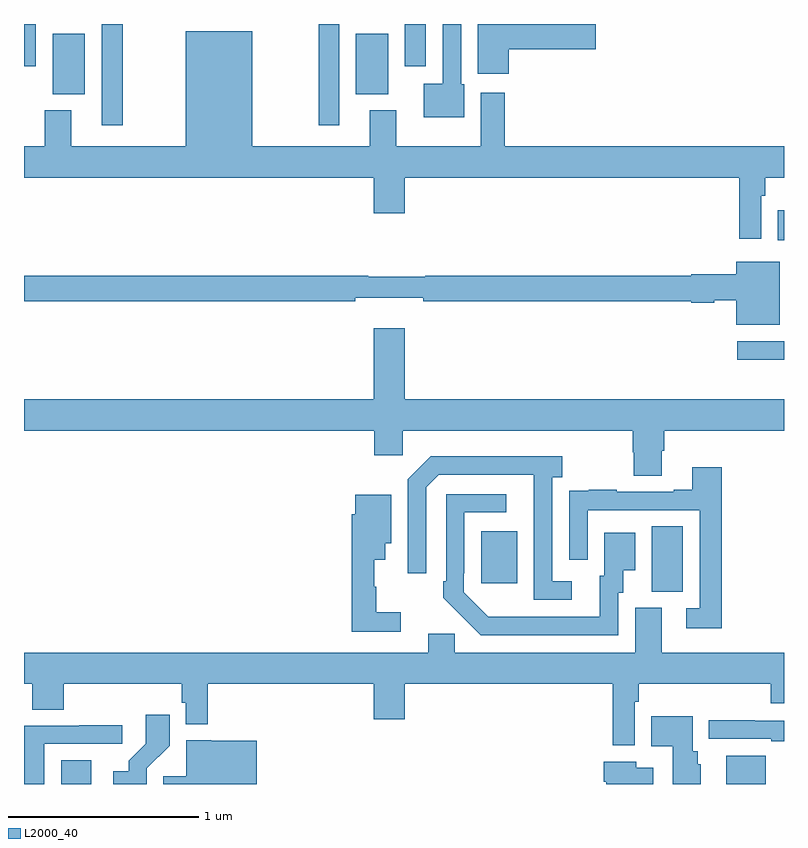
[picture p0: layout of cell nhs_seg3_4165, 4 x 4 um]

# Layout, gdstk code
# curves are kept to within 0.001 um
import gdstk
lib = gdstk.Library(unit=1e-6, precision=1e-09)
def R(c, l, rs):  # rectangles x0, y0, x1, y1
    for r in rs: c.add(gdstk.rectangle(r[:2], r[2:], *l))
def P(c, l, *ps):  # polygons
    for p in ps: c.add(gdstk.Polygon(p, *l))
L2000_40 = (2000, 40)

nhs_seg3_4165 = lib.new_cell('nhs_seg3_4165')
R(nhs_seg3_4165, L2000_40, [(331.196,688.4,331.354,688.526), (334.697,688.4,334.903,688.549), (334.304,689.413,334.468,689.756), (333.407,689.457,333.595,689.731), (334.755,690.633,335,690.729), (334.966,691.262,335,691.42), (331.41,691.866,331.519,692.4), (332.55,691.866,332.658,692.4), (331.151,692.03,331.321,692.35), (332.747,692.03,332.917,692.35), (331,692.178,331.063,692.4), (333.005,692.178,333.115,692.4)])
P(nhs_seg3_4165, L2000_40, [(333.551,692.267),(334.009,692.267),(334.009,692.4),(333.389,692.4),(333.389,692.139),(333.551,692.139)],
  [(333.316,692.082),(333.3,692.082),(333.3,692.4),(333.204,692.4),(333.204,692.086),(333.104,692.086),(333.104,691.91),(333.316,691.91)],
  [(334.881,691.496),(334.901,691.496),(334.901,691.592),(335,691.592),(335,691.756),(333.53,691.756),(333.53,692.038),(333.404,692.038),(333.404,691.756),(332.959,691.756),(332.959,691.945),(332.819,691.945),(332.819,691.756),(332.2,691.756),(332.2,692.362),(331.85,692.362),(331.85,691.756),(331.249,691.756),(331.249,691.945),(331.109,691.945),(331.109,691.756),(331,691.756),(331,691.592),(332.84,691.592),(332.84,691.404),(333.004,691.404),(333.004,691.592),(334.765,691.592),(334.765,691.269),(334.881,691.269)],
  [(334.978,691.15),(334.748,691.15),(334.748,691.084),(334.512,691.084),(334.512,691.076),(333.112,691.076),(333.112,691.069),(332.812,691.069),(332.812,691.076),(331,691.076),(331,690.94),(332.744,690.94),(332.744,690.959),(333.1,690.959),(333.1,690.94),(334.512,690.94),(334.512,690.932),(334.632,690.932),(334.632,690.947),(334.748,690.947),(334.748,690.818),(334.978,690.818)],
  [(334.357,690.154),(334.37,690.154),(334.37,690.26),(335,690.26),(335,690.424),(333.004,690.424),(333.004,690.799),(332.84,690.799),(332.84,690.424),(331,690.424),(331,690.26),(332.843,690.26),(332.843,690.129),(332.994,690.129),(332.994,690.26),(334.205,690.26),(334.205,690.147),(334.21,690.147),(334.21,690.022),(334.357,690.022)],
  [(333.883,689.466),(333.78,689.466),(333.78,690.014),(333.832,690.014),(333.832,690.124),(333.142,690.124),(333.021,690.003),(333.021,689.508),(333.117,689.508),(333.117,689.961),(333.183,690.027),(333.683,690.027),(333.684,689.37),(333.883,689.37)],
  [(334.673,690.067),(334.517,690.067),(334.517,689.95),(334.421,689.95),(334.421,689.937),(334.121,689.937),(334.121,689.95),(333.973,689.95),(333.973,689.943),(333.871,689.943),(333.871,689.834),(333.87,689.834),(333.87,689.58),(333.966,689.58),(333.966,689.841),(334.557,689.841),(334.557,689.325),(334.485,689.325),(334.485,689.22),(334.673,689.22)],
  [(334.128,689.406),(334.153,689.406),(334.153,689.525),(334.216,689.525),(334.216,689.722),(334.055,689.722),(334.055,689.496),(334.031,689.496),(334.031,689.28),(333.444,689.281),(333.315,689.409),(333.315,689.509),(333.318,689.509),(333.318,689.829),(333.538,689.829),(333.538,689.925),(333.222,689.925),(333.222,689.467),(333.207,689.467),(333.207,689.379),(333.404,689.184),(334.128,689.184)],
  [(332.983,689.303),(332.854,689.303),(332.854,689.439),(332.843,689.439),(332.843,689.579),(332.902,689.579),(332.902,689.666),(332.932,689.666),(332.932,689.923),(332.744,689.923),(332.744,689.819),(332.725,689.819),(332.725,689.202),(332.983,689.202)],
  [(334.215,688.832),(334.235,688.832),(334.235,688.928),(334.931,688.928),(334.931,688.826),(335,688.826),(335,689.092),(334.357,689.092),(334.357,689.328),(334.217,689.328),(334.217,689.092),(333.267,689.092),(333.267,689.19),(333.128,689.19),(333.128,689.092),(331,689.092),(331,688.928),(331.043,688.928),(331.043,688.792),(331.208,688.792),(331.208,688.928),(331.831,688.928),(331.831,688.827),(331.851,688.827),(331.851,688.715),(331.967,688.715),(331.967,688.928),(332.84,688.928),(332.84,688.74),(333.004,688.74),(333.004,688.928),(334.099,688.928),(334.099,688.605),(334.215,688.605)],
  [(331.647,688.483),(331.766,688.602),(331.766,688.765),(331.641,688.765),(331.641,688.613),(331.55,688.523),(331.55,688.468),(331.47,688.468),(331.47,688.4),(331.647,688.4)],
  [(334.561,688.503),(334.546,688.503),(334.546,688.572),(334.519,688.572),(334.519,688.756),(334.3,688.756),(334.3,688.598),(334.415,688.598),(334.415,688.4),(334.561,688.4)],
  [(335,688.734),(334.847,688.734),(334.847,688.736),(334.605,688.736),(334.605,688.638),(334.934,688.638),(334.934,688.626),(335,688.626)],
  [(331.107,688.611),(331.516,688.611),(331.516,688.71),(331.291,688.71),(331.291,688.707),(331,688.707),(331,688.4),(331.107,688.4)],
  [(332.224,688.627),(331.986,688.627),(331.986,688.63),(331.853,688.63),(331.853,688.442),(331.732,688.442),(331.732,688.4),(332.224,688.4)],
  [(334.312,688.486),(334.222,688.486),(334.222,688.516),(334.052,688.516),(334.052,688.412),(334.064,688.412),(334.064,688.4),(334.312,688.4)])

lib.write_gds('nhs_seg3_4165.gds')
